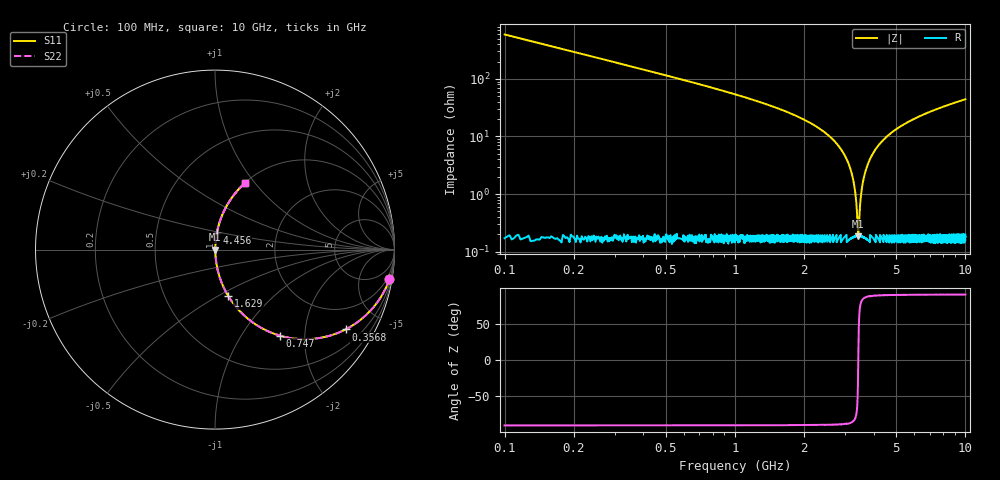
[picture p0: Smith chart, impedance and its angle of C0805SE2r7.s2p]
! AVX Thin Film Operation		Date: April 2012
! Description: Accu-P® Series, Thin Film, SMD, RF Capacitor
! Part Number: 08051J2R7QBTTR
!	100	MHz	-	10.05	GHz
!	Serial	Measurements
#	MHZ	S	MA	R	50
!	S11	S21	S12	S22
!	dB	Phase	dB	Phase	dB	Phase	dB	Phase
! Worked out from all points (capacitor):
!   4010 points, 100 MHz to 10 GHz, reference 50 ohm
!   read as one part in series: C = 2.7 pF near 149.4 MHz
!   lowest |Z| = 185 mohm at 3.429 GHz (marker M1)
!   series resonance near 3.428 GHz, so ESL is about 800 pH
!   S11 on the Smith chart (normalised r, x): 100 MHz: 1, -12; 356.8 MHz: 1.00, -3.27; 747 MHz: 1.00, -1.50; 1.629 GHz: 1.00, -0.56; 4.456 GHz: 1.00, +0.18; 10 GHz: 1.00, +0.88
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100  0.986 -9.6  0.167 80.3  0.167 80.3  0.986 -9.6
223.472  0.934 -20.8  0.356 69.1  0.356 69.1  0.934 -20.8
356.822  0.853 -31.4  0.522 58.5  0.522 58.5  0.853 -31.4
746.994  0.6 -53.0  0.798 36.9  0.798 36.9  0.6 -53.0
1628.586  0.269 -74.0  0.961 15.6  0.961 15.6  0.269 -74.0
1752.058  0.241 -75.7  0.969 13.9  0.969 13.9  0.241 -75.7
2544.749  0.103 -83.1  0.993 5.9  0.993 5.9  0.103 -83.1
3006.535  0.045 -85.3  0.997 2.6  0.997 2.6  0.045 -85.3
3265.827  0.017 -83.2  0.998 1.0  0.998 1.0  0.017 -83.2
3334.971  0.00963 -79.3  0.998 0.5  0.998 0.5  0.00963 -79.3
3401.646  0.00318 -57.5  0.998 0.2  0.998 0.2  0.00318 -57.5
3428.81  0.0017 1.5  0.998 -0.0  0.998 -0.0  0.0017 1.5
3458.444  0.00345 60.3  0.998 -0.2  0.998 -0.2  0.00345 60.3
3510.302  0.00829 77.7  0.998 -0.5  0.998 -0.5  0.00829 77.7
3559.691  0.013 81.8  0.998 -0.7  0.998 -0.7  0.013 81.8
3720.205  0.028 84.9  0.998 -1.6  0.998 -1.6  0.028 84.9
4021.477  0.055 85.1  0.997 -3.1  0.997 -3.1  0.055 85.1
4456.099  0.091 83.7  0.994 -5.2  0.994 -5.2  0.091 83.7
5051.235  0.135 81.5  0.989 -7.8  0.989 -7.8  0.135 81.5
6700.823  0.24 75.7  0.969 -13.9  0.969 -13.9  0.24 75.7
8350.412  0.328 70.6  0.943 -19.2  0.943 -19.2  0.328 70.6
10000  0.404 65.9  0.913 -23.8  0.913 -23.8  0.404 65.9
